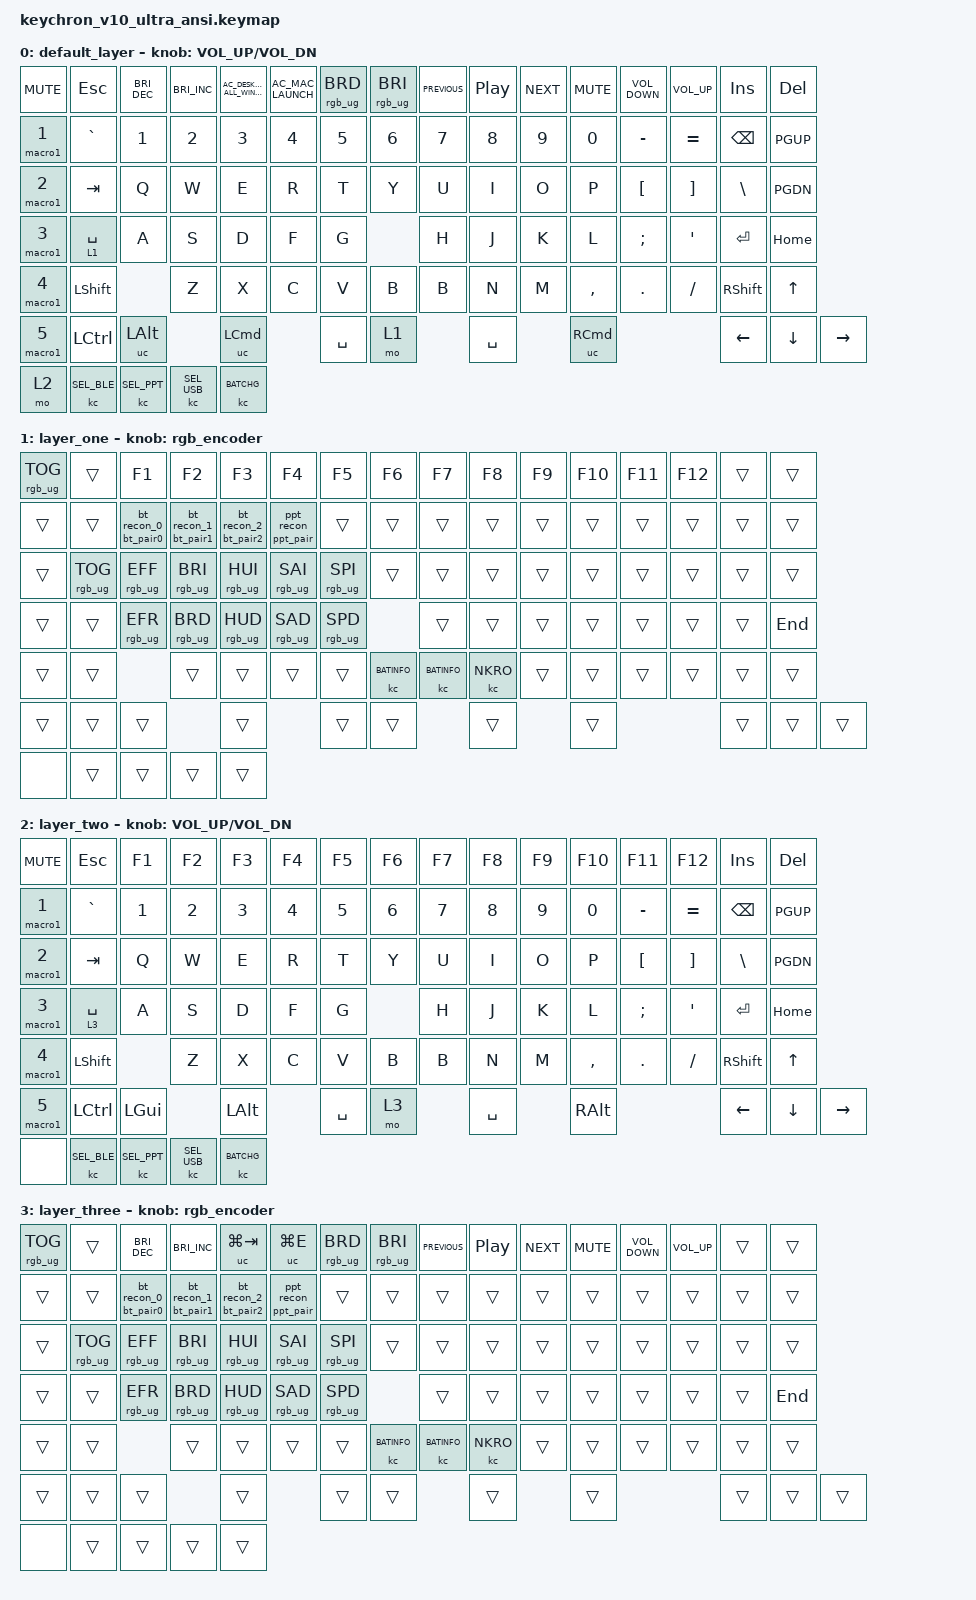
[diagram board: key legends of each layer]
/*
 * Copyright (c) 2023 The ZMK Contributors
 *
 * SPDX-License-Identifier: MIT
 */

#include <behaviors.dtsi>
#include <dt-bindings/zmk/bt.h>
#include <dt-bindings/zmk/keys.h>
#include <dt-bindings/zmk/rgb.h>
#include <dt-bindings/zmk/bt.h>
#include <dt-bindings/zmk/outputs.h>
#include <dt-bindings/zmk/keychron.h>


/ {
    behaviors {
        caps_spc_layer: caps_space_layer {
            compatible = "zmk,behavior-hold-tap";
            #binding-cells = <2>;
            flavor = "balanced";
            tapping-term-ms = <200>;
            quick-tap-ms = <175>;
            retro-tap;
            bindings = <&mo>, <&kp>;
        };

        rgb_encoder: rgb_encoder {
            compatible = "zmk,behavior-sensor-rotate";
            #sensor-binding-cells = <0>;
            bindings = <&rgb_ug RGB_BRI>, <&rgb_ug RGB_BRD>;
            tap-ms =<20>;
        };
        mouse_encoder: mouse_encoder {
            compatible = "zmk,behavior-sensor-rotate-var";
            #sensor-binding-cells = <2>;
            bindings = <&mkp>, <&mkp>;
            tap-ms =<20>;
        };
    };
    macro1:zm_ma{
        compatible = "zmk,behavior-macro-one-param";
        #binding-cells = <1>;
        bindings=<&kp 0x770000>;
    };
    lm: layer_mod {
        compatible = "zmk,behavior-macro-two-param";
        wait-ms = <0>;
        tap-ms = <0>;
        #binding-cells = <2>;
        bindings
            = <&macro_param_1to1>
            , <&macro_press &mo 0>
            , <&macro_param_2to1>
            , <&macro_press &kp 0>
            , <&macro_pause_for_release>
            , <&macro_param_2to1>
            , <&macro_release &kp 0>
            , <&macro_param_1to1>
            , <&macro_release &mo 0>
            ;
    };
    td1:tapd_layer{
        compatible = "zmk,behavior-tap-dance1";
        #binding-cells = <1>;
        tapping-term-ms = <350>;
        bindings =<&mo 0>,<&mo 0>,<&mo 0>,<&mo 0>,<&to 0>;
    };

    kc_lp:l1{
        compatible = "zmk,behavior-hold-tap";
        #binding-cells = <2>;
        flavor = "tap-preferred";
        tapping-term-ms = <3000>;  // delay amount in ms
        bindings = <&kc>,<&none>;
    };

    long_press_bootloader:lp_bootloader{
        compatible = "zmk,behavior-hold-tap";
        #binding-cells = <2>;
        flavor = "tap-preferred";
        tapping-term-ms = <3000>;  // delay amount in ms
        bindings = <&bootloader>, <&none>;
    };
    // kc_nkro:kc_nkro{
    //     compatible = "zmk,behavior-hold-tap";
    //     #binding-cells = <2>;
    //     flavor = "tap-preferred";
    //     tapping-term-ms = <2000>;  // delay amount in ms
    //     bindings = <&kc NKRO>, <&none>;
    // };
    ZMK_MACRO(bt_pair0, bindings = <&kc BT_PAIR 0>;)
    ZMK_MACRO(bt_pair1, bindings = <&kc BT_PAIR 1>;)
    ZMK_MACRO(bt_pair2, bindings = <&kc BT_PAIR 2>;)
    ZMK_MACRO(ppt_pair, bindings = <&kc PPT_PAIR 0>;)
    ZMK_MACRO(bt_recon_0, bindings = <&kc BT_SEL 0>;)
    ZMK_MACRO(bt_recon_1, bindings = <&kc BT_SEL 1>;)
    ZMK_MACRO(bt_recon_2, bindings = <&kc BT_SEL 2>;)
    ZMK_MACRO(ppt_recon, bindings = <&kc PPT_SEL 0>;)



    bt_pair_0: bt_pair_0 {
        compatible = "zmk,behavior-hold-tap";

        #binding-cells = <2>;
        flavor = "tap-preferred";
        tapping-term-ms = <3000>;  // delay amount in ms
        bindings = <&bt_pair0>, <&bt_recon_0>;
    };
    bt_pair_1: bt_pair_1 {
        compatible = "zmk,behavior-hold-tap";

        #binding-cells = <2>;
        flavor = "tap-preferred";
        tapping-term-ms = <3000>;  // delay amount in ms
        bindings = <&bt_pair1>, <&bt_recon_1>;
    };
    bt_pair_2: bt_pair_2 {
        compatible = "zmk,behavior-hold-tap";

        #binding-cells = <2>;
        flavor = "tap-preferred";
        tapping-term-ms = <3000>;  // delay amount in ms
        bindings = <&bt_pair2>, <&bt_recon_2>;
    };
    ppt_pair_0: ppt_pair_0 {
        compatible = "zmk,behavior-hold-tap";

        #binding-cells = <2>;
        flavor = "tap-preferred";
        tapping-term-ms = <3000>;  // delay amount in ms
        bindings = <&ppt_pair>, <&ppt_recon>;
    };
    uc:user_custom {
        compatible = "zmk,behavior-key-press";
        #binding-cells =<1>;
    };
    combos {
        compatible = "zmk,combos";

        /* W + E = CapsLock */
        combo_caps {
            timeout-ms = <40>;
            key-positions = <35 36>;
            bindings = <&kp CAPS>;
        };

        /* S + D = 한/영 (RALT) */
        combo_kor_eng {
            timeout-ms = <40>;
            key-positions = <51 52>;
            bindings = <&kp RALT>;
        };

        /* D + F = Space */
        combo_space {
            timeout-ms = <40>;
            key-positions = <52 53>;
            bindings = <&kp SPACE>;
        };

        /* J + K = Enter */
        combo_enter {
            timeout-ms = <40>;
            key-positions = <56 57>;
            bindings = <&kp ENTER>;
        };

        /* Z + X = Cut (Ctrl+X) */
        combo_cut {
            timeout-ms = <40>;
            key-positions = <65 66>;
            bindings = <&kp LC(X)>;
        };

        /* X + C = Copy (Ctrl+C) */
        combo_copy {
            timeout-ms = <40>;
            key-positions = <66 67>;
            bindings = <&kp LC(C)>;
        };

        /* C + V = Paste (Ctrl+V) */
        combo_paste {
            timeout-ms = <40>;
            key-positions = <67 68>;
            bindings = <&kp LC(V)>;
        };

        combo_a {
                timeout-ms = <500>;
                layers =< 1 3>;
                key-positions = <56 65>; //fn+j+z
                bindings = <&kc_lp RCV>;
        };
        // combo_b {v
        //         timeout-ms = <1000>;
        //         layers =< 1 3>;
        //         key-positions = <64>; //fn+b
        //         bindings = <&kc BATINFO>;
        // };
        // combo_c {
        //         timeout-ms = <1000>;
        //         layers =< 1 3>;
        //         key-positions = <58 81>; //fn+home+right
        //         bindings = <&kc_lp RGBTEST>;
        // };
         combo_t0 {
            timeout-ms = <10 >;
            layers =<4>;
            key-positions = <120>;
            bindings = <&to 3 >;
        };
        combo_t1 {
            timeout-ms = <10 >;
            layers =<4>;

            key-positions = <120>;
            bindings = <&tog 3 >;
        };
        combo_t2 {
            timeout-ms = <10 >;
            layers =<4>;
            key-positions = <120>;
            bindings = <&sl 3 >;
        };
        combo_t3 {
            timeout-ms = <10 >;
            layers =<4>;
            key-positions = <120>;
            bindings = <&lt 3 SPACE>;
        };
        combo_t4 {
            timeout-ms = <10 >;
            layers =<4>;
            key-positions = <120>;
            bindings = <&sk LSHIFT>;
        };
        combo_t5 {
            timeout-ms = <10 >;
            layers =<4>;
            key-positions = <120>;
            bindings = <&mt LSHIFT SPACE>;
        };
        combo_t6 {
            timeout-ms = <10 >;
            layers =<4>;
            key-positions = <120>;
            bindings = <&gresc>;
        };
        //  combo_t7 {
        //     timeout-ms = <10 >;
        //     layers =<4>;
        //     key-positions = <120>;
        //     bindings = <&mkp 0>;
        // };
    };
    keymap {
        compatible = "zmk,keymap";
        //mac
        default_layer {
        bindings = <
        &kp C_MUTE  &kp ESC                &kp C_BRIGHTNESS_DEC   &kp C_BRIGHTNESS_INC     &kp C_AC_DESKTOP_SHOW_ALL_WINDOWS   &kp  C_AC_MAC_LAUNCH    &rgb_ug RGB_BRD     &rgb_ug RGB_BRI &kp C_PREVIOUS  &kp C_PLAY_PAUSE    &kp C_NEXT  &kp C_MUTE  &kp C_VOLUME_DOWN   &kp C_VOLUME_UP      &kp INS                                     &kp DEL
        &macro1 1     &kp GRAVE              &kp N1                 &kp N2                   &kp N3                              &kp N4                  &kp N5              &kp N6          &kp N7          &kp N8              &kp N9       &kp N0     &kp MINUS            &kp EQUAL           &kp BSPC                                    &kp PGUP
        &macro1 2      &kp TAB                &kp Q                  &kp W                    &kp E                               &kp R                   &kp T                               &kp Y           &kp U               &kp I        &kp O      &kp P                &kp LBKT            &kp RBKT        &kp BSLH                    &kp PGDN
        &macro1 3      &caps_spc_layer 1 SPACE               &kp A                  &kp S                    &kp D                               &kp F                   &kp G                               &kp H           &kp J               &kp K        &kp L      &kp SEMI             &kp SQT             &kp RET                                     &kp HOME
        &macro1 4      &kp LSHFT                                     &kp Z                    &kp X                               &kp C                   &kp V               &kp B           &kp B           &kp N               &kp M        &kp COMMA  &kp DOT              &kp FSLH            &kp RSHFT                  &kp UP
        &macro1 5      &kp LCTRL              &uc LALT                                        &uc LCMD                                                    &kp SPACE           &mo 1                           &kp SPACE                        &uc RCMD                                                            &kp LEFT   &kp DOWN         &kp RIGHT
        //keychron control
        &mo 2       &kc SEL_BLE              &kc SEL_PPT            &kc SEL_USB             &kc BATCHG
        >;
        sensor-bindings = <&inc_dec_kp C_VOL_UP C_VOL_DN>;
        };
        //mac fn layer
        layer_one {
        bindings = <
                                                             //f1                        //f2                        //f3                                //f4                  //f5               //f6                //f7                //f8                //f9              //f10              //f11                        //f12
        &rgb_ug RGB_TOG   &trans                          &kp F1                      &kp F2                      &kp F3                              &kp F4                  &kp F5              &kp F6              &kp F7              &kp F8              &kp F9           &kp F10             &kp F11                     &kp F12              &trans                                  &trans
        &trans            &trans                          &bt_pair_0 0 0              &bt_pair_1 0 0              &bt_pair_2 0 0                      &ppt_pair_0 0 0         &trans              &trans              &trans              &trans              &trans           &trans              &trans                      &trans               &trans                                  &trans
        &trans            &rgb_ug RGB_TOG                 &rgb_ug RGB_EFF             &rgb_ug RGB_BRI             &rgb_ug RGB_HUI                     &rgb_ug RGB_SAI         &rgb_ug RGB_SPI                         &trans              &trans              &trans           &trans              &trans                      &trans               &trans          &trans                  &trans
        &trans            &trans                          &rgb_ug RGB_EFR             &rgb_ug RGB_BRD             &rgb_ug RGB_HUD                     &rgb_ug RGB_SAD         &rgb_ug RGB_SPD                         &trans              &trans              &trans           &trans              &trans                      &trans               &trans                                  &kp END
        &trans            &trans                                                      &trans                      &trans                              &trans                  &trans              &kc BATINFO         &kc BATINFO         &kc NKRO            &trans           &trans              &trans                      &trans               &trans                      &trans
        &trans            &trans                          &trans                                                  &trans                                                      &trans              &trans                                  &trans                               &trans                                                                               &trans      &trans      &trans
        //
        &none                           &trans                      &trans                      &trans                             &trans
        >;
        sensor-bindings = <&rgb_encoder>;
        };
        //win
        layer_two {
        bindings = <
        &kp C_MUTE     &kp ESC                &kp F1                 &kp F2                   &kp F3                              &kp F4                  &kp F5              &kp F6          &kp F7          &kp F8              &kp F9       &kp F10    &kp F11              &kp F12             &kp INS                                     &kp DEL
        &macro1 1      &kp GRAVE              &kp N1                 &kp N2                   &kp N3                              &kp N4                  &kp N5              &kp N6          &kp N7          &kp N8              &kp N9       &kp N0     &kp MINUS            &kp EQUAL           &kp BSPC                                    &kp PGUP
        &macro1 2      &kp TAB                &kp Q                  &kp W                    &kp E                               &kp R                   &kp T                               &kp Y           &kp U               &kp I        &kp O      &kp P                &kp LBKT            &kp RBKT        &kp BSLH                    &kp PGDN
        &macro1 3      &caps_spc_layer 3 SPACE               &kp A                  &kp S                    &kp D                               &kp F                   &kp G                               &kp H           &kp J               &kp K        &kp L      &kp SEMI             &kp SQT             &kp RET                                     &kp HOME
        &macro1 4      &kp LSHFT                                     &kp Z                    &kp X                               &kp C                   &kp V               &kp B           &kp B           &kp N               &kp M        &kp COMMA  &kp DOT              &kp FSLH            &kp RSHFT                  &kp UP
        &macro1 5      &kp LCTRL              &kp LGUI                                        &kp LALT                                                    &kp SPACE           &mo 3                           &kp SPACE                        &kp RALT                                                            &kp LEFT   &kp DOWN         &kp RIGHT
        //keychron control
        &none       &kc SEL_BLE              &kc SEL_PPT            &kc SEL_USB             &kc BATCHG
        >;
        sensor-bindings = <&inc_dec_kp C_VOL_UP C_VOL_DN>;
        };
        //win fn layer
        layer_three {
        bindings = <
                                                             //f1                        //f2                        //f3                                //f4                        //f5            //f6                //f7              //f8                //f9            //f10              //f11                         //f12
        &rgb_ug RGB_TOG   &trans                          &kp C_BRIGHTNESS_DEC        &kp C_BRIGHTNESS_INC        &uc LG(TAB)                         &uc LG(E)               &rgb_ug RGB_BRD     &rgb_ug RGB_BRI     &kp C_PREVIOUS      &kp C_PLAY_PAUSE    &kp C_NEXT       &kp C_MUTE          &kp C_VOLUME_DOWN           &kp C_VOLUME_UP      &trans                                  &trans
        &trans            &trans                          &bt_pair_0 0 0              &bt_pair_1 0 0              &bt_pair_2 0 0                      &ppt_pair_0 0 0         &trans              &trans              &trans              &trans              &trans           &trans              &trans                      &trans               &trans                                  &trans
        &trans            &rgb_ug RGB_TOG                 &rgb_ug RGB_EFF             &rgb_ug RGB_BRI             &rgb_ug RGB_HUI                     &rgb_ug RGB_SAI         &rgb_ug RGB_SPI                         &trans              &trans              &trans           &trans              &trans                      &trans               &trans          &trans                  &trans
        &trans            &trans                          &rgb_ug RGB_EFR             &rgb_ug RGB_BRD             &rgb_ug RGB_HUD                     &rgb_ug RGB_SAD         &rgb_ug RGB_SPD                         &trans              &trans              &trans           &trans              &trans                      &trans               &trans                                  &kp END
        &trans            &trans                                                      &trans                      &trans                              &trans                  &trans              &kc BATINFO         &kc BATINFO         &kc NKRO            &trans           &trans              &trans                      &trans               &trans                      &trans
        &trans            &trans                          &trans                                                  &trans                                                      &trans              &trans                                  &trans                               &trans                                                                               &trans      &trans      &trans
        //
        &none                           &trans                      &trans                      &trans                             &trans
        >;
        sensor-bindings = <&rgb_encoder>;
        };

    };
};
&mt {
    tapping-term-ms = <400>;
};
&inc_dec_kp {
    tap-ms=<20>;
};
